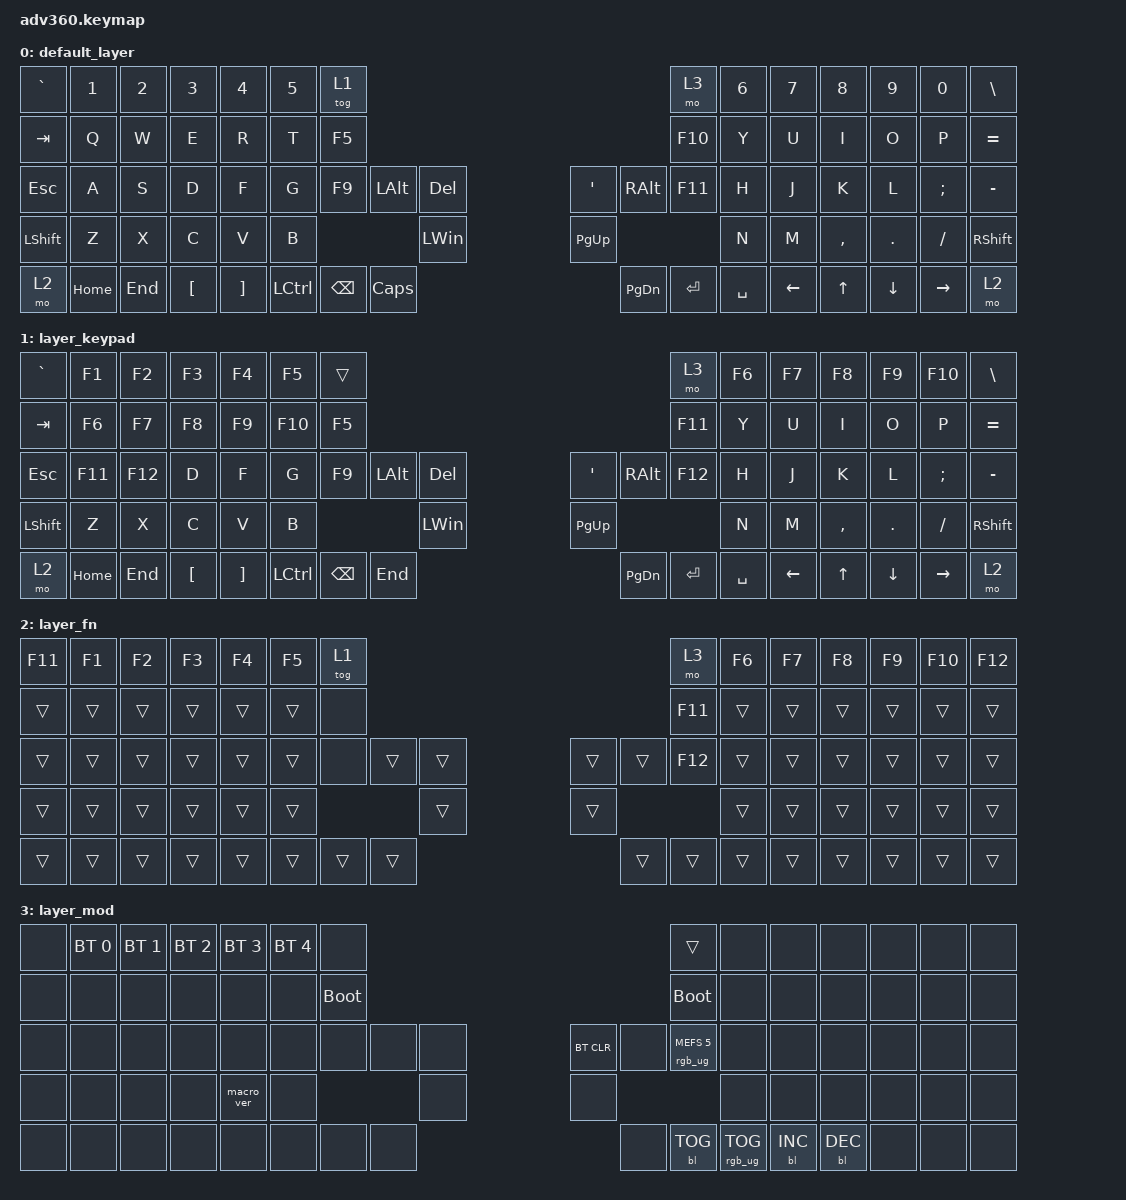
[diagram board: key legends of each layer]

/*
 * Copyright (c) 2020 The ZMK Contributors
 *
 * SPDX-License-Identifier: MIT
 */


/* THIS FILE WAS GENERATED!
 *
 * This file was generated automatically. You may or may not want to
 * edit it directly.
 */

#include <behaviors.dtsi>
#include <dt-bindings/zmk/keys.h>
#include <dt-bindings/zmk/bt.h>
#include <dt-bindings/zmk/rgb.h>
#include <dt-bindings/zmk/backlight.h>

/ {
  behaviors {
    #include "macros.dtsi"
    #include "version.dtsi"

    hm: homerow_mods {
        compatible = "zmk,behavior-hold-tap";
        label = "HOMEROW_MODS";
        #binding-cells = <2>;
        tapping-term-ms = <200>;
        quick_tap_ms = <175>;
        flavor = "tap-preferred";
        bindings = <&kp>, <&kp>;
    };
  };

    keymap {
        compatible = "zmk,keymap";


        default_layer {
            bindings = <
 &kp GRAVE    &kp N1   &kp N2    &kp N3    &kp N4  &kp N5               &tog 1                                                                         &mo 3  &kp N6    &kp N7     &kp N8    &kp N9     &kp N0   &kp BSLH
   &kp TAB     &kp Q    &kp W     &kp E     &kp R   &kp T               &kp F5                                                                       &kp F10   &kp Y     &kp U      &kp I     &kp O      &kp P  &kp EQUAL
   &kp ESC     &kp A    &kp S     &kp D     &kp F   &kp G               &kp F9       &kp LALT    &kp DELETE                    &kp SQT   &kp RALT    &kp F11   &kp H     &kp J      &kp K     &kp L   &kp SEMI  &kp MINUS
 &kp LSHFT     &kp Z    &kp X     &kp C     &kp V   &kp B                                      &kp LEFT_WIN                  &kp PG_UP                         &kp N     &kp M  &kp COMMA   &kp DOT   &kp FSLH  &kp RSHFT
     &mo 2  &kp HOME  &kp END  &kp LBKT  &kp RBKT                    &kp LCTRL  &kp BACKSPACE  &kp CAPSLOCK                  &kp PG_DN  &kp ENTER  &kp SPACE          &kp LEFT     &kp UP  &kp DOWN  &kp RIGHT      &mo 2
            >;
        };

        layer_keypad {
            bindings = <
 &kp GRAVE    &kp F1   &kp F2    &kp F3    &kp F4   &kp F5               &trans                                                                    &mo 3  &kp F6    &kp F7     &kp F8    &kp F9    &kp F10   &kp BSLH
   &kp TAB    &kp F6   &kp F7    &kp F8    &kp F9  &kp F10               &kp F5                                                                  &kp F11   &kp Y     &kp U      &kp I     &kp O      &kp P  &kp EQUAL
   &kp ESC   &kp F11  &kp F12     &kp D     &kp F    &kp G               &kp F9  &kp LALT       &kp DEL                    &kp SQT   &kp RALT    &kp F12   &kp H     &kp J      &kp K     &kp L   &kp SEMI  &kp MINUS
 &kp LSHFT     &kp Z    &kp X     &kp C     &kp V    &kp B                                 &kp LEFT_WIN                  &kp PG_UP                         &kp N     &kp M  &kp COMMA   &kp DOT   &kp FSLH  &kp RSHFT
     &mo 2  &kp HOME  &kp END  &kp LBKT  &kp RBKT                     &kp LCTRL  &kp BSPC       &kp END                  &kp PG_DN  &kp ENTER  &kp SPACE          &kp LEFT     &kp UP  &kp DOWN  &kp RIGHT      &mo 2
            >;
        };

        layer_fn {
            bindings = <
 &kp F11  &kp F1  &kp F2  &kp F3  &kp F4  &kp F5            &tog 1                                                    &mo 3  &kp F6  &kp F7  &kp F8  &kp F9  &kp F10  &kp F12
  &trans  &trans  &trans  &trans  &trans  &trans             &none                                                  &kp F11  &trans  &trans  &trans  &trans   &trans   &trans
  &trans  &trans  &trans  &trans  &trans  &trans             &none  &trans  &trans                  &trans  &trans  &kp F12  &trans  &trans  &trans  &trans   &trans   &trans
  &trans  &trans  &trans  &trans  &trans  &trans                            &trans                  &trans                   &trans  &trans  &trans  &trans   &trans   &trans
  &trans  &trans  &trans  &trans  &trans                    &trans  &trans  &trans                  &trans  &trans   &trans          &trans  &trans  &trans   &trans   &trans
            >;
        };

        layer_mod {
            bindings = <
  &none  &bt BT_SEL 0  &bt BT_SEL 1  &bt BT_SEL 2  &bt BT_SEL 3  &bt BT_SEL 4                  &none                                                                          &trans   &none       &none       &none   &none   &none   &none
  &none         &none         &none         &none         &none         &none            &bootloader                                                                     &bootloader   &none       &none       &none   &none   &none   &none
  &none         &none         &none         &none         &none         &none                  &none   &none   &none                  &bt BT_CLR       &none  &rgb_ug RGB_MEFS_CMD 5   &none       &none       &none   &none   &none   &none
  &none         &none         &none         &none    &macro_ver         &none                                  &none                       &none                                       &none       &none       &none   &none   &none   &none
  &none         &none         &none         &none         &none                                &none   &none   &none                       &none  &bl BL_TOG         &rgb_ug RGB_TOG          &bl BL_INC  &bl BL_DEC   &none   &none   &none
            >;
        };

    };
};
